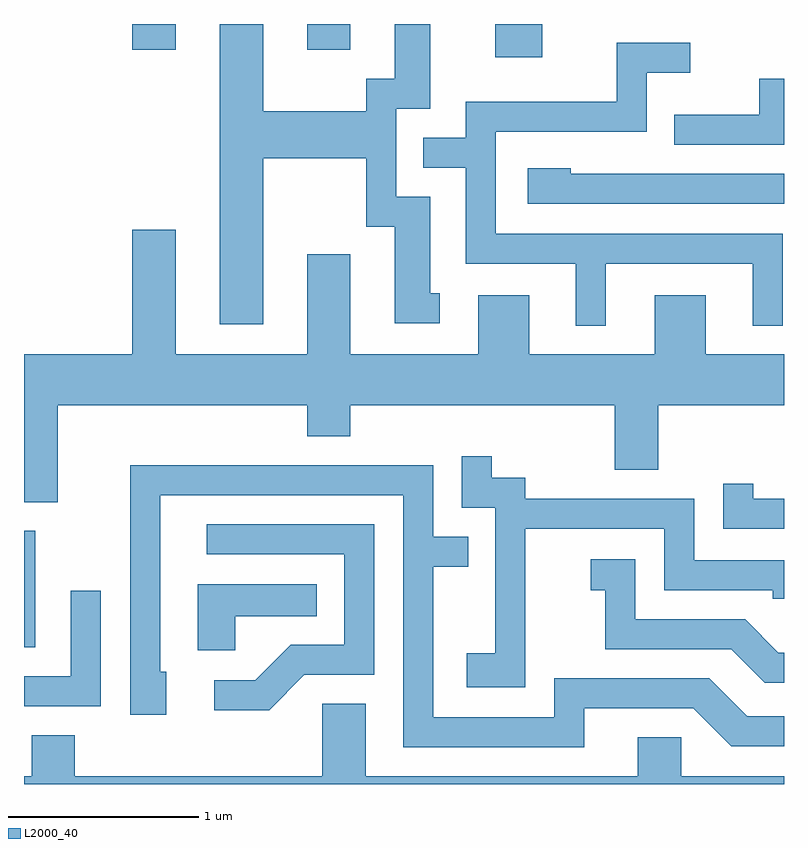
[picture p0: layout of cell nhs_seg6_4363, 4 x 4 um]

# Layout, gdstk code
import gdstk
lib = gdstk.Library(unit=1e-6, precision=1e-09)
def R(c, l, rs):  # rectangles x0, y0, x1, y1
    for r in rs: c.add(gdstk.rectangle(r[:2], r[2:], *l))
def P(c, l, *ps):  # polygons
    for p in ps: c.add(gdstk.Polygon(p, *l))
L2000_40 = (2000, 40)

nhs_seg6_4363 = lib.new_cell('nhs_seg6_4363')
R(nhs_seg6_4363, L2000_40, [(317.611,1650.881,317.669,1651.494), (320.091,1653.986,320.339,1654.162), (318.181,1654.026,318.409,1654.162), (319.101,1654.026,319.329,1654.162)])
P(nhs_seg6_4363, L2000_40, [(318.869,1653.456),(319.411,1653.456),(319.411,1653.096),(319.561,1653.096),(319.561,1652.586),(319.798,1652.586),(319.798,1652.744),(319.749,1652.744),(319.749,1653.254),(319.569,1653.254),(319.569,1653.716),(319.749,1653.716),(319.749,1654.162),(319.561,1654.162),(319.561,1653.874),(319.411,1653.874),(319.411,1653.704),(318.869,1653.704),(318.869,1654.162),(318.641,1654.162),(318.641,1652.581),(318.869,1652.581)],
  [(320.674,1652.901),(321.446,1652.901),(321.446,1652.573),(321.604,1652.573),(321.604,1653.059),(320.094,1653.059),(320.094,1653.596),(320.889,1653.596),(320.889,1653.906),(321.118,1653.906),(321.118,1654.064),(320.731,1654.064),(320.731,1653.754),(319.936,1653.754),(319.936,1653.564),(319.713,1653.564),(319.713,1653.406),(319.936,1653.406),(319.936,1652.901),(320.516,1652.901),(320.516,1652.573),(320.674,1652.573)],
  [(321.611,1653.874),(321.481,1653.874),(321.481,1653.684),(321.033,1653.684),(321.033,1653.526),(321.611,1653.526)],
  [(321.611,1653.374),(320.489,1653.374),(320.489,1653.404),(320.261,1653.404),(320.261,1653.216),(321.611,1653.216)],
  [(317.789,1652.156),(319.101,1652.156),(319.101,1651.991),(319.329,1651.991),(319.329,1652.156),(320.721,1652.156),(320.721,1651.816),(320.949,1651.816),(320.949,1652.156),(321.611,1652.156),(321.611,1652.424),(321.199,1652.424),(321.199,1652.734),(320.931,1652.734),(320.931,1652.424),(320.269,1652.424),(320.269,1652.734),(320.001,1652.734),(320.001,1652.424),(319.329,1652.424),(319.329,1652.949),(319.101,1652.949),(319.101,1652.424),(318.409,1652.424),(318.409,1653.079),(318.181,1653.079),(318.181,1652.424),(317.611,1652.424),(317.611,1651.646),(317.789,1651.646)],
  [(320.249,1651.506),(320.981,1651.506),(320.981,1651.181),(321.551,1651.181),(321.551,1651.136),(321.611,1651.136),(321.611,1651.339),(321.139,1651.339),(321.139,1651.664),(320.249,1651.664),(320.249,1651.774),(320.074,1651.774),(320.074,1651.888),(319.916,1651.888),(319.916,1651.616),(320.091,1651.616),(320.091,1650.849),(319.941,1650.849),(319.941,1650.671),(320.249,1650.671)],
  [(320.559,1650.561),(321.134,1650.561),(321.334,1650.361),(321.611,1650.361),(321.611,1650.519),(321.417,1650.519),(321.217,1650.719),(320.401,1650.719),(320.401,1650.514),(319.764,1650.514),(319.764,1651.306),(319.948,1651.306),(319.948,1651.464),(319.764,1651.464),(319.764,1651.839),(318.171,1651.839),(318.171,1650.526),(318.359,1650.526),(318.359,1650.754),(318.329,1650.754),(318.329,1651.681),(319.606,1651.681),(319.606,1650.356),(320.559,1650.356)],
  [(321.611,1651.664),(321.449,1651.664),(321.449,1651.743),(321.291,1651.743),(321.291,1651.506),(321.611,1651.506)],
  [(319.087,1650.736),(319.454,1650.736),(319.454,1651.529),(318.573,1651.529),(318.573,1651.371),(319.296,1651.371),(319.296,1650.894),(319.014,1650.894),(318.829,1650.709),(318.613,1650.709),(318.613,1650.551),(318.902,1650.551)],
  [(321.611,1650.854),(321.582,1650.854),(321.407,1651.029),(320.829,1651.029),(320.829,1651.344),(320.593,1651.344),(320.593,1651.181),(320.671,1651.181),(320.671,1650.871),(321.334,1650.871),(321.509,1650.696),(321.611,1650.696)],
  [(318.724,1651.046),(319.153,1651.046),(319.153,1651.214),(318.526,1651.214),(318.526,1650.866),(318.724,1650.866)],
  [(318.014,1651.178),(317.856,1651.178),(317.856,1650.729),(317.611,1650.729),(317.611,1650.571),(318.014,1650.571)],
  [(321.611,1650.204),(321.069,1650.204),(321.069,1650.409),(320.841,1650.409),(320.841,1650.204),(319.409,1650.204),(319.409,1650.584),(319.181,1650.584),(319.181,1650.204),(317.879,1650.204),(317.879,1650.419),(317.651,1650.419),(317.651,1650.204),(317.611,1650.204),(317.611,1650.162),(321.611,1650.162)])

lib.write_gds('nhs_seg6_4363.gds')
